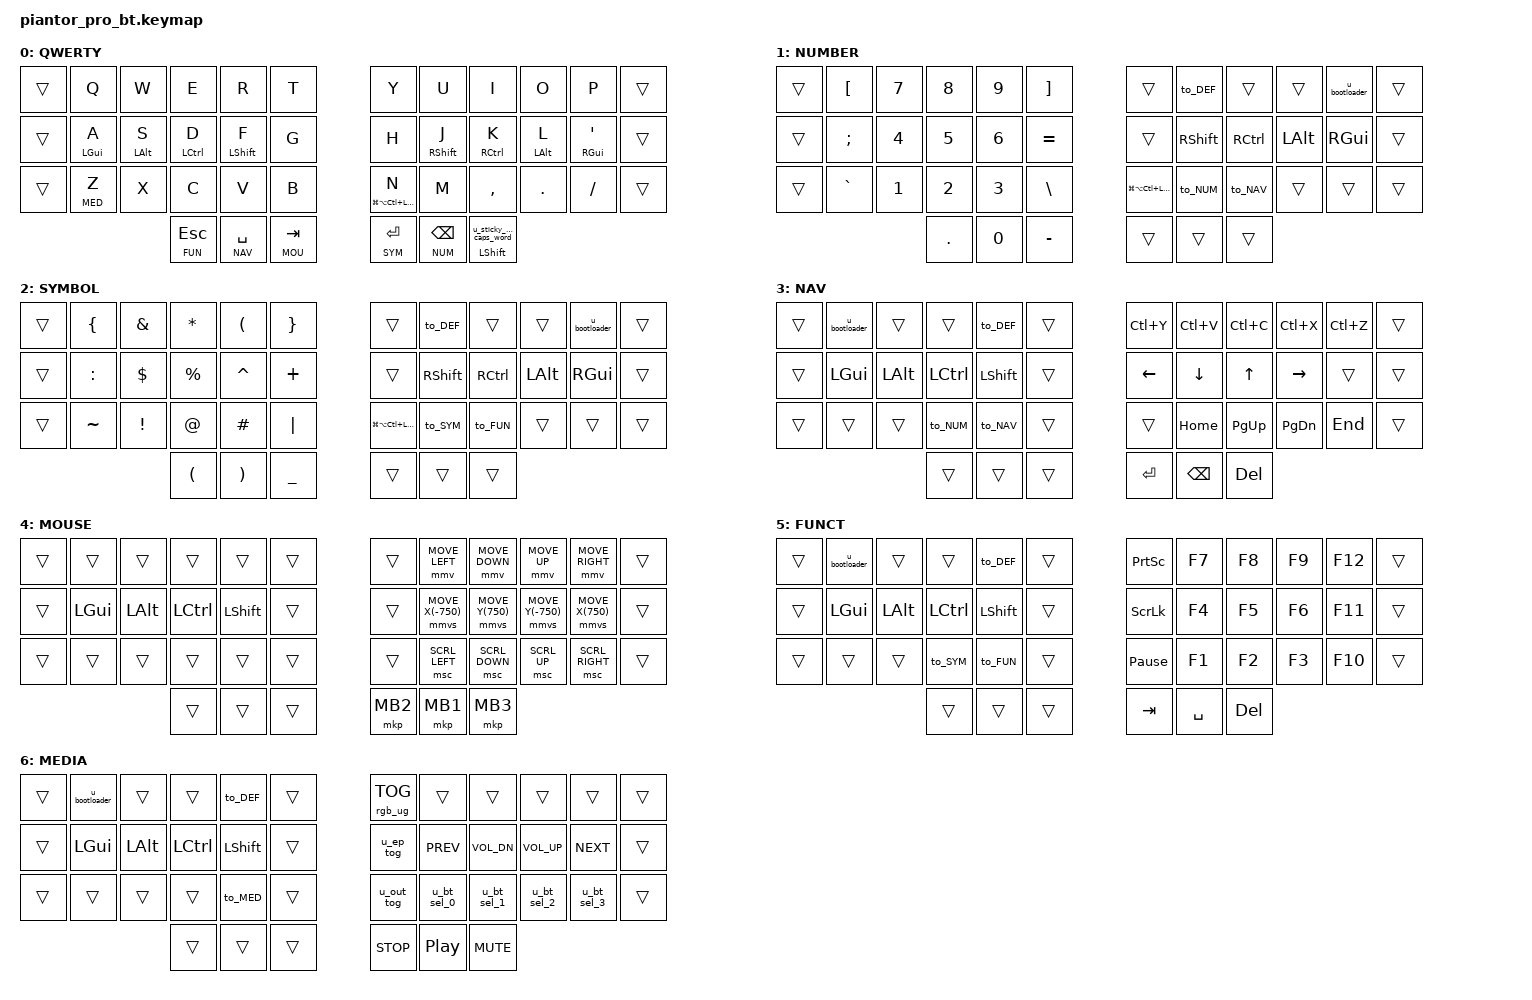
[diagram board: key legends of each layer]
/*
 * Copyright (c) 2020 The ZMK Contributors
 *
 * SPDX-License-Identifier: MIT
 */

#define ZMK_POINTING_DEFAULT_MOVE_VAL 2000
#define ZMK_POINTING_DEFAULT_SCRL_VAL 100

#include <behaviors.dtsi>
#include <dt-bindings/zmk/keys.h>
#include <dt-bindings/zmk/bt.h>
#include <dt-bindings/zmk/outputs.h>
#include <dt-bindings/zmk/ext_power.h>
#include <dt-bindings/zmk/rgb.h>
#include <dt-bindings/zmk/pointing.h>

#define TAPPING_TERM 200

// Layers
#define DEF 0
#define NUM 1
#define SYM 2
#define NAV 3
#define MOU 4
#define FUN 5
#define MED 6

#define KEYS_L 0 1 2 3 4 5 12 13 14 15 16 17 24 25 26 27 28 29 36 37 38
#define KEYS_R 6 7 8 9 10 11 18 19 20 21 22 23 30 31 32 33 34 35 39 40 41
#define THUMBS 36 37 38 39 40 41

#define DOUBLE_TAP_GUARD(NAME, BINDING) \
/ { \
  behaviors { \
    NAME: NAME { \
      compatible = "zmk,behavior-tap-dance"; \
      #binding-cells = <0>; \
      tapping-term-ms = <TAPPING_TERM>; \
      bindings = <&none>, <BINDING>; \
    }; \
  }; \
};
DOUBLE_TAP_GUARD(u_bootloader, &bootloader)
DOUBLE_TAP_GUARD(to_DEF, &to DEF)
DOUBLE_TAP_GUARD(to_NUM, &to NUM)
DOUBLE_TAP_GUARD(to_SYM, &to SYM)
DOUBLE_TAP_GUARD(to_NAV, &to NAV)
DOUBLE_TAP_GUARD(to_FUN, &to FUN)
DOUBLE_TAP_GUARD(to_MED, &to MED)

#define U_MACRO(name, ...) \
/ { \
  macros { \
    name: name { \
      compatible = "zmk,behavior-macro"; \
      #binding-cells = <0>; \
      __VA_ARGS__ \
    }; \
  }; \
};

#define U_SHIFT_FUNCTION(NAME, BINDING, SHIFT_BINDING) \
/ { \
  behaviors { \
    NAME: NAME { \
      compatible = "zmk,behavior-mod-morph"; \
      #binding-cells = <0>; \
      bindings = <BINDING>, <SHIFT_BINDING>; \
      mods = <(MOD_LSFT|MOD_RSFT)>; \
    }; \
  }; \
};

#define U_SHIFT_MACRO(NAME, BINDING, SHIFT_BINDING) \
U_MACRO(u_macro_ ## NAME, wait-ms = <0>; bindings = <SHIFT_BINDING>;) \
U_SHIFT_FUNCTION(NAME, BINDING, &u_macro_ ## NAME)

#define U_SHIFT_DOUBLE_MACRO(NAME, BINDINGS, SHIFT_BINDINGS) \
U_MACRO(u_macro_ ## NAME ## base, wait-ms = <0>; bindings = <BINDINGS>;) \
U_MACRO(u_macro_ ## NAME ## shift, wait-ms = <0>; bindings = <SHIFT_BINDINGS>;) \
U_SHIFT_FUNCTION(NAME, &u_macro_ ## NAME ## base, &u_macro_ ## NAME ## shift)

U_SHIFT_DOUBLE_MACRO(u_bt_sel_0, &to DEF &bt BT_SEL 0, &to DEF &bt BT_SEL 0 &bt BT_CLR)
U_SHIFT_DOUBLE_MACRO(u_bt_sel_1, &to DEF &bt BT_SEL 1, &to DEF &bt BT_SEL 1 &bt BT_CLR)
U_SHIFT_DOUBLE_MACRO(u_bt_sel_2, &to DEF &bt BT_SEL 2, &to DEF &bt BT_SEL 2 &bt BT_CLR)
U_SHIFT_DOUBLE_MACRO(u_bt_sel_3, &to DEF &bt BT_SEL 3, &to DEF &bt BT_SEL 3 &bt BT_CLR)

U_SHIFT_FUNCTION(u_out_tog, &out OUT_TOG, &out OUT_USB)
U_SHIFT_FUNCTION(u_ep_tog, &ext_power EP_TOG, &ext_power EP_OFF)

U_SHIFT_FUNCTION(u_sticky_shft_caps_word, &skq LSHFT, &caps_word)
#define U_MULTI_SHIFT &u_multi_shift LSHFT 0

// -----------------------------------------------------------------------------------------
// | 0  | 1  | 2  | 3  | 4  | 5  |   | 6  | 7  | 8  | 9  | 10 | 11 |
// | 12 | 13 | 14 | 15 | 16 | 17 |   | 18 | 19 | 20 | 21 | 22 | 23 |
// | 24 | 25 | 26 | 27 | 28 | 29 |   | 30 | 31 | 32 | 33 | 34 | 35 |
//                | 36 | 37 | 38 |   | 39 | 40 | 41 |

/ {
  chosen {
    zmk,physical-layout = &default_layout;
  };
};

&mmv {
  acceleration-exponent = <1>;
  time-to-max-speed-ms = <500>;
  delay-ms = <0>;
};

&msc {
  acceleration-exponent = <1>;
  time-to-max-speed-ms = <500>;
};

/ {
  behaviors {
    hml: left_positional_hold_tap {
      compatible = "zmk,behavior-hold-tap";
      #binding-cells = <2>;
      flavor = "balanced";
      tapping-term-ms = <280>;
      quick-tap-ms = <175>;
      require-prior-idle-ms = <150>;
      bindings = <&kp>, <&kp>;
      hold-trigger-key-positions = <KEYS_R THUMBS>;
      hold-trigger-on-release;
    };
    hmr: right_positional_hold_tap {
      compatible = "zmk,behavior-hold-tap";
      #binding-cells = <2>;
      flavor = "balanced";
      tapping-term-ms = <280>;
      quick-tap-ms = <175>;
      require-prior-idle-ms = <150>;
      bindings = <&kp>, <&kp>;
      hold-trigger-key-positions = <KEYS_L THUMBS>;
      hold-trigger-on-release;
    };
    u_lt: u_lt {
      compatible = "zmk,behavior-hold-tap";
      #binding-cells = <2>;
      tapping-term-ms = <TAPPING_TERM>;
      flavor = "tap-preferred";
      quick-tap-ms = <175>;
      bindings = <&mo>, <&kp>;
    };
    ltl: left_positional_hold_tap_layer {
      compatible = "zmk,behavior-hold-tap";
      #binding-cells = <2>;
      flavor = "balanced";
      tapping-term-ms = <280>;
      quick-tap-ms = <175>;
      require-prior-idle-ms = <150>;
      bindings = <&mo>, <&kp>;
      hold-trigger-key-positions = <KEYS_R THUMBS>;
      hold-trigger-on-release;
    };
    skq: sticky_key_quick_release {
      compatible = "zmk,behavior-sticky-key";
      #binding-cells = <1>;
      bindings = <&kp>;
      release-after-ms = <1000>;
      quick-release;
    };
    u_multi_shift: u_multi_shift {
      compatible = "zmk,behavior-hold-tap";
      #binding-cells = <2>;
      flavor = "balanced";
      tapping-term-ms = <TAPPING_TERM>;
      bindings = <&kp>, <&u_sticky_shft_caps_word>;
    };
    mmvs: mouse_move_slow_accel {
      compatible = "zmk,behavior-input-two-axis";
      #binding-cells = <1>;
      x-input-code = <INPUT_REL_X>;
      y-input-code = <INPUT_REL_Y>;
      time-to-max-speed-ms = <1000>;
      acceleration-exponent = <1>;
    };
  };
  mmvs_input_listener: mmvs_input_listener {
        compatible = "zmk,input-listener";
        device = <&mmvs>;
  };
  combos {
    compatible = "zmk,combos";
    combo_lbkt {
      timeout-ms = <50>;
      require-prior-idle-ms = <120>;
      key-positions = <4 5>;
      bindings = <&kp LBKT>;
      layers = <DEF NUM SYM>;
    };
    combo_rbkt {
      timeout-ms = <50>;
      require-prior-idle-ms = <120>;
      key-positions = <6 7>;
      bindings = <&kp RBKT>;
      layers = <DEF NUM SYM>;
    };
    combo_lpar {
      timeout-ms = <50>;
      require-prior-idle-ms = <120>;
      key-positions = <16 17>;
      bindings = <&kp LPAR>;
      layers = <DEF NUM SYM>;
    };
    combo_rpar {
      timeout-ms = <50>;
      require-prior-idle-ms = <120>;
      key-positions = <18 19>;
      bindings = <&kp RPAR>;
      layers = <DEF NUM SYM>;
    };
    combo_lbrc {
      timeout-ms = <50>;
      require-prior-idle-ms = <120>;
      key-positions = <28 29>;
      bindings = <&kp LBRC>;
      layers = <DEF NUM SYM>;
    };
    combo_rbrc {
      timeout-ms = <50>;
      require-prior-idle-ms = <120>;
      key-positions = <30 31>;
      bindings = <&kp RBRC>;
      layers = <DEF NUM SYM>;
    };
    combo_under {
      timeout-ms = <50>;
      require-prior-idle-ms = <120>;
      key-positions = <31 32>;
      bindings = <&kp UNDER>;
      layers = <DEF NUM SYM>;
    };
    combo_dash {
      timeout-ms = <30>;
      require-prior-idle-ms = <120>;
      key-positions = <7 8>;
      bindings = <&kp MINUS>;
      layers = <DEF NUM SYM>;
    };
    combo_semi {
      timeout-ms = <30>;
      require-prior-idle-ms = <120>;
      key-positions = <2 3>;
      bindings = <&kp SEMI>;
      layers = <DEF NUM SYM>;
    };
    combo_colon {
      timeout-ms = <50>;
      require-prior-idle-ms = <120>;
      key-positions = <26 27>;
      bindings = <&kp COLON>;
      layers = <DEF NUM SYM>;
    };
    combo_bslh {
      timeout-ms = <30>;
      require-prior-idle-ms = <120>;
      key-positions = <8 9>;
      bindings = <&kp BSLH>;
      layers = <DEF NUM SYM>;
    };
    combo_pipe {
      timeout-ms = <50>;
      require-prior-idle-ms = <120>;
      key-positions = <32 33>;
      bindings = <&kp PIPE>;
      layers = <DEF NUM SYM>;
    };
    combo_equal {
      timeout-ms = <30>;
      require-prior-idle-ms = <120>;
      key-positions = <3 4>;
      bindings = <&kp EQUAL>;
      layers = <DEF NUM SYM>;
    };
    combo_plus {
      timeout-ms = <50>;
      require-prior-idle-ms = <120>;
      key-positions = <27 28>;
      bindings = <&kp PLUS>;
      layers = <DEF NUM SYM>;
    };
    combo_backtick {
      timeout-ms = <50>;
      require-prior-idle-ms = <120>;
      key-positions = <1 2>;
      bindings = <&kp GRAVE>;
      layers = <DEF NUM SYM>;
    };
    combo_exclamation {
      timeout-ms = <50>;
      require-prior-idle-ms = <120>;
      key-positions = <25 26>;
      bindings = <&kp EXCL>;
      layers = <DEF NUM SYM>;
    };
    combo_caret {
      timeout-ms = <50>;
      require-prior-idle-ms = <120>;
      key-positions = <9 10>;
      bindings = <&kp CARET>;
      layers = <DEF NUM SYM>;
    };
    combo_dollar {
      timeout-ms = <50>;
      require-prior-idle-ms = <120>;
      key-positions = <33 34>;
      bindings = <&kp DLLR>;
      layers = <DEF NUM SYM>;
    };
  };
  keymap {
    // &trans &trans &trans &trans &trans &trans    &trans &trans &trans &trans &trans &trans
    // &trans &trans &trans &trans &trans &trans    &trans &trans &trans &trans &trans &trans
    // &trans &trans &trans &trans &trans &trans    &trans &trans &trans &trans &trans &trans
    //                      &trans &trans &trans    &trans &trans &trans
    compatible = "zmk,keymap";
    default_layer {
      display-name = "QWERTY";
      bindings = <
        &trans &kp Q       &kp W       &kp E         &kp R           &kp T            &kp Y                    &kp U        &kp I        &kp O       &kp P         &trans
        &trans &hml LGUI A &hml LALT S &hml LCTRL D  &hml LSHFT F    &kp G            &kp H                    &hmr RSHFT J &hmr RCTRL K &hmr LALT L &hmr RGUI SQT &trans
        &trans &ltl MED Z  &kp X       &kp C         &kp V           &kp B            &hmr LG(LA(LC(LSHFT))) N &kp M        &kp COMMA    &kp DOT     &kp FSLH      &trans
                                       &u_lt FUN ESC &u_lt NAV SPACE &u_lt MOU TAB    &u_lt SYM RET            &u_lt NUM BSPC U_MULTI_SHIFT
      >;
    };
    number_layer {
      display-name = "NUMBER";
      bindings = <
        &trans &kp LBKT  &kp N7 &kp N8  &kp N9 &kp RBKT    &trans                &to_DEF    &trans    &trans   &u_bootloader   &trans
        &trans &kp SEMI  &kp N4 &kp N5  &kp N6 &kp EQUAL   &trans                &kp RSHFT  &kp RCTRL &kp LALT &kp RGUI        &trans
        &trans &kp GRAVE &kp N1 &kp N2  &kp N3 &kp BSLH    &kp LG(LA(LC(LSHFT))) &to_NUM    &to_NAV   &trans   &trans          &trans
                                &kp DOT &kp N0 &kp MINUS   &trans                &trans     &trans
      >;
    };
    symbol_layer {
      display-name = "SYMBOL";
      bindings = <
        &trans &kp LBRC  &kp AMPS &kp STAR  &kp LPAR  &kp RBRC    &trans                &to_DEF   &trans     &trans   &u_bootloader   &trans
        &trans &kp COLON &kp DLLR &kp PRCNT &kp CARET &kp PLUS    &trans                &kp RSHFT &kp RCTRL  &kp LALT &kp RGUI        &trans
        &trans &kp TILDE &kp EXCL &kp AT    &kp POUND &kp PIPE    &kp LG(LA(LC(LSHFT))) &to_SYM   &to_FUN    &trans   &trans          &trans
                                  &kp LPAR  &kp RPAR  &kp UNDER   &trans                &trans    &trans
      >;
    };
    navigation_layer {
      display-name = "NAV";
      bindings = <
        &trans &u_bootloader &trans   &trans    &to_DEF   &trans    &kp LC(Y) &kp LC(V) &kp LC(C) &kp LC(X) &kp LC(Z) &trans
        &trans &kp LGUI      &kp LALT &kp LCTRL &kp LSHFT &trans    &kp LEFT  &kp DOWN  &kp UP    &kp RIGHT &trans    &trans
        &trans &trans        &trans   &to_NUM   &to_NAV   &trans    &trans    &kp HOME  &kp PG_UP &kp PG_DN &kp END   &trans
                                      &trans    &trans    &trans    &kp RET   &kp BSPC  &kp DEL
      >;
    };
    mouse_layer {
      display-name = "MOUSE";
      bindings = <
        &trans &trans   &trans   &trans    &trans    &trans    &trans    &mmv MOVE_LEFT     &mmv MOVE_DOWN    &mmv MOVE_UP       &mmv MOVE_RIGHT   &trans
        &trans &kp LGUI &kp LALT &kp LCTRL &kp LSHFT &trans    &trans    &mmvs MOVE_X(-750) &mmvs MOVE_Y(750) &mmvs MOVE_Y(-750) &mmvs MOVE_X(750) &trans
        &trans &trans   &trans   &trans    &trans    &trans    &trans    &msc SCRL_LEFT     &msc SCRL_DOWN    &msc SCRL_UP       &msc SCRL_RIGHT   &trans
                                 &trans    &trans    &trans    &mkp MB2  &mkp MB1           &mkp MB3
      >;
    };
    function_layer {
      display-name = "FUNCT";
      bindings = <
        &trans &u_bootloader &trans   &trans    &to_DEF   &trans    &kp PSCRN       &kp F7    &kp F8 &kp F9 &kp F12 &trans
        &trans &kp LGUI      &kp LALT &kp LCTRL &kp LSHFT &trans    &kp SLCK        &kp F4    &kp F5 &kp F6 &kp F11 &trans
        &trans &trans        &trans   &to_SYM   &to_FUN   &trans    &kp PAUSE_BREAK &kp F1    &kp F2 &kp F3 &kp F10 &trans
                                      &trans    &trans    &trans    &kp TAB         &kp SPACE &kp DEL
      >;
    };
    media_layer {
      display-name = "MEDIA";
      bindings = <
        &trans &u_bootloader &trans   &trans    &to_DEF   &trans    &rgb_ug RGB_TOG &trans      &trans       &trans       &trans      &trans
        &trans &kp LGUI      &kp LALT &kp LCTRL &kp LSHFT &trans    &u_ep_tog       &kp C_PREV  &kp C_VOL_DN &kp C_VOL_UP &kp C_NEXT  &trans
        &trans &trans        &trans   &trans    &to_MED   &trans    &u_out_tog      &u_bt_sel_0 &u_bt_sel_1  &u_bt_sel_2  &u_bt_sel_3 &trans
                                      &trans    &trans    &trans    &kp C_STOP      &kp C_PP    &kp C_MUTE
      >;
    };
  };
};
